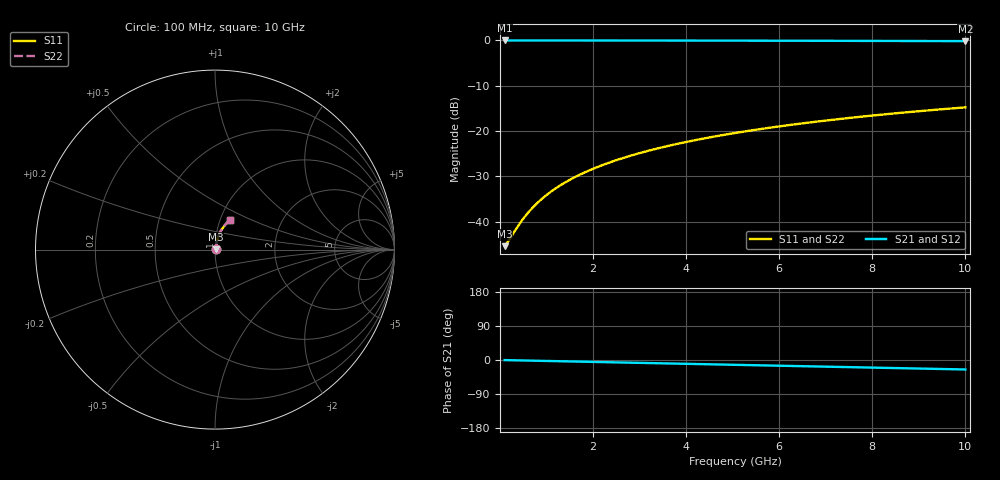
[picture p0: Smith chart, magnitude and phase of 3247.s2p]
# Hz S RI R 50.00
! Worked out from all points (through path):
!   100 points, 100 MHz to 10 GHz, reference 50 ohm
!   highest |S21| = -0.04 dB at 100 MHz (marker M1); lowest = -0.2 dB at 10 GHz (marker M2)
!   group delay of S21, straight-line fit = 6.95 ps
!   lowest |S11| = -45.4 dB at 100 MHz (marker M3), VSWR 1.01, Z = 50.5 + j0.189 ohm
!   |S11| at or under -10 dB: start of sweep to end of sweep
!   |S22| runs from -45.4 to -14.8 dB; largest |S21 - S12| = 0
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1e8  0.00502 0.00187  0.995 -0.00438  0.995 -0.00438  0.00502 0.00187
2e8  0.00508 0.00375  0.9949 -0.00876  0.9949 -0.00876  0.00508 0.00375
4e8  0.00522 0.0075  0.9947 -0.0175  0.9947 -0.0175  0.00522 0.0075
5e8  0.00531 0.00937  0.9946 -0.0219  0.9946 -0.0219  0.00531 0.00937
6e8  0.00542 0.0112  0.9945 -0.0263  0.9945 -0.0263  0.00542 0.0112
7e8  0.00554 0.0131  0.9943 -0.0306  0.9943 -0.0306  0.00554 0.0131
8e8  0.00567 0.015  0.9941 -0.035  0.9941 -0.035  0.00567 0.015
1e9  0.00599 0.0187  0.9937 -0.0437  0.9937 -0.0437  0.00599 0.0187
1.2e9  0.00637 0.0224  0.9931 -0.0525  0.9931 -0.0525  0.00637 0.0224
1.5e9  0.00706 0.028  0.9922 -0.0656  0.9922 -0.0656  0.00706 0.028
1.8e9  0.00789 0.0336  0.991 -0.0786  0.991 -0.0786  0.00789 0.0336
2.1e9  0.00887 0.0391  0.9897 -0.0917  0.9897 -0.0917  0.00887 0.0391
2.5e9  0.0104 0.0464  0.9876 -0.109  0.9876 -0.109  0.0104 0.0464
2.9e9  0.0122 0.0537  0.9851 -0.1263  0.9851 -0.1263  0.0122 0.0537
3.4e9  0.0148 0.0627  0.9815 -0.1478  0.9815 -0.1478  0.0148 0.0627
4.2e9  0.0197 0.0767  0.9746 -0.1819  0.9746 -0.1819  0.0197 0.0767
5.1e9  0.0264 0.0921  0.9653 -0.2198  0.9653 -0.2198  0.0264 0.0921
5.9e9  0.0333 0.1052  0.9555 -0.253  0.9555 -0.253  0.0333 0.1052
6.7e9  0.0412 0.1178  0.9445 -0.2857  0.9445 -0.2857  0.0412 0.1178
7.5e9  0.0498 0.1298  0.9322 -0.3177  0.9322 -0.3177  0.0498 0.1298
8.4e9  0.0605 0.1424  0.9169 -0.3529  0.9169 -0.3529  0.0605 0.1424
1e10  0.0816 0.1626  0.8862 -0.4132  0.8862 -0.4132  0.0816 0.1626
